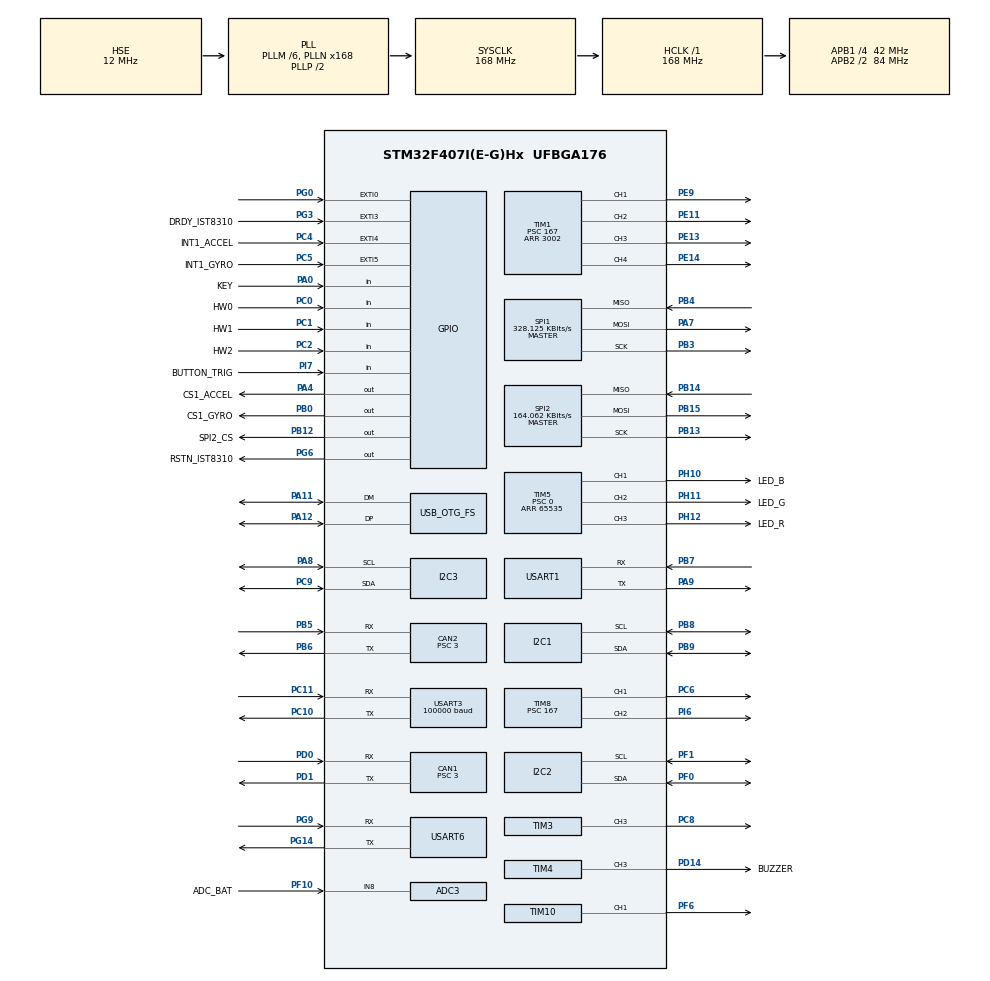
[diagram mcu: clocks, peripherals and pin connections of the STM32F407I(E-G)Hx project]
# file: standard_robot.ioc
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ADC1.Channel-0\#ChannelRegularConversion=ADC_CHANNEL_TEMPSENSOR
ADC1.ClockPrescaler=ADC_CLOCK_SYNC_PCLK_DIV6
ADC1.NbrOfConversionFlag=1
ADC1.Rank-0\#ChannelRegularConversion=1
ADC1.SamplingTime-0\#ChannelRegularConversion=ADC_SAMPLETIME_3CYCLES
ADC1.master=1
ADC3.Channel-0\#ChannelRegularConversion=ADC_CHANNEL_8
ADC3.ClockPrescaler=ADC_CLOCK_SYNC_PCLK_DIV6
ADC3.NbrOfConversionFlag=1
ADC3.Rank-0\#ChannelRegularConversion=1
ADC3.SamplingTime-0\#ChannelRegularConversion=ADC_SAMPLETIME_3CYCLES
CAN1.BS1=CAN_BS1_10TQ
CAN1.BS2=CAN_BS2_3TQ
CAN1.CalculateTimeQuantum=71.42857142857143
CAN1.Prescaler=3
CAN2.BS1=CAN_BS1_10TQ
CAN2.BS2=CAN_BS2_3TQ
CAN2.CalculateTimeQuantum=71.42857142857143
CAN2.Prescaler=3
Dma.I2C2_TX.2.Direction=DMA_MEMORY_TO_PERIPH
Dma.I2C2_TX.2.FIFOMode=DMA_FIFOMODE_DISABLE
Dma.I2C2_TX.2.Instance=DMA1_Stream7
Dma.I2C2_TX.2.MemDataAlignment=DMA_MDATAALIGN_BYTE
Dma.I2C2_TX.2.MemInc=DMA_MINC_ENABLE
Dma.I2C2_TX.2.Mode=DMA_NORMAL
Dma.I2C2_TX.2.PeriphDataAlignment=DMA_PDATAALIGN_BYTE
Dma.I2C2_TX.2.PeriphInc=DMA_PINC_DISABLE
Dma.I2C2_TX.2.Priority=DMA_PRIORITY_HIGH
Dma.Request0=SPI1_RX
Dma.Request1=SPI1_TX
Dma.Request2=I2C2_TX
Dma.Request3=USART3_RX
Dma.Request4=USART6_RX
Dma.Request5=USART6_TX
Dma.Request6=USART1_TX
Dma.Request7=USART1_RX
Dma.SPI1_RX.0.Direction=DMA_PERIPH_TO_MEMORY
Dma.SPI1_RX.0.FIFOMode=DMA_FIFOMODE_DISABLE
Dma.SPI1_RX.0.Instance=DMA2_Stream2
Dma.SPI1_RX.0.MemDataAlignment=DMA_MDATAALIGN_BYTE
Dma.SPI1_RX.0.MemInc=DMA_MINC_ENABLE
Dma.SPI1_RX.0.Mode=DMA_NORMAL
Dma.SPI1_RX.0.PeriphDataAlignment=DMA_PDATAALIGN_BYTE
Dma.SPI1_RX.0.PeriphInc=DMA_PINC_DISABLE
Dma.SPI1_RX.0.Priority=DMA_PRIORITY_VERY_HIGH
Dma.SPI1_TX.1.Direction=DMA_MEMORY_TO_PERIPH
Dma.SPI1_TX.1.FIFOMode=DMA_FIFOMODE_DISABLE
Dma.SPI1_TX.1.Instance=DMA2_Stream3
Dma.SPI1_TX.1.MemDataAlignment=DMA_MDATAALIGN_BYTE
Dma.SPI1_TX.1.MemInc=DMA_MINC_ENABLE
Dma.SPI1_TX.1.Mode=DMA_NORMAL
Dma.SPI1_TX.1.PeriphDataAlignment=DMA_PDATAALIGN_BYTE
Dma.SPI1_TX.1.PeriphInc=DMA_PINC_DISABLE
Dma.SPI1_TX.1.Priority=DMA_PRIORITY_HIGH
Dma.USART1_RX.7.Direction=DMA_PERIPH_TO_MEMORY
Dma.USART1_RX.7.FIFOMode=DMA_FIFOMODE_DISABLE
Dma.USART1_RX.7.Instance=DMA2_Stream5
Dma.USART1_RX.7.MemDataAlignment=DMA_MDATAALIGN_BYTE
Dma.USART1_RX.7.MemInc=DMA_MINC_ENABLE
Dma.USART1_RX.7.Mode=DMA_NORMAL
Dma.USART1_RX.7.PeriphDataAlignment=DMA_PDATAALIGN_BYTE
Dma.USART1_RX.7.PeriphInc=DMA_PINC_DISABLE
Dma.USART1_RX.7.Priority=DMA_PRIORITY_LOW
Dma.USART1_TX.6.Direction=DMA_MEMORY_TO_PERIPH
Dma.USART1_TX.6.FIFOMode=DMA_FIFOMODE_DISABLE
Dma.USART1_TX.6.Instance=DMA2_Stream7
Dma.USART1_TX.6.MemDataAlignment=DMA_MDATAALIGN_BYTE
Dma.USART1_TX.6.MemInc=DMA_MINC_ENABLE
Dma.USART1_TX.6.Mode=DMA_NORMAL
Dma.USART1_TX.6.PeriphDataAlignment=DMA_PDATAALIGN_BYTE
Dma.USART1_TX.6.PeriphInc=DMA_PINC_DISABLE
Dma.USART1_TX.6.Priority=DMA_PRIORITY_MEDIUM
Dma.USART3_RX.3.Direction=DMA_PERIPH_TO_MEMORY
Dma.USART3_RX.3.FIFOMode=DMA_FIFOMODE_DISABLE
Dma.USART3_RX.3.Instance=DMA1_Stream1
Dma.USART3_RX.3.MemDataAlignment=DMA_MDATAALIGN_BYTE
Dma.USART3_RX.3.MemInc=DMA_MINC_ENABLE
Dma.USART3_RX.3.Mode=DMA_NORMAL
Dma.USART3_RX.3.PeriphDataAlignment=DMA_PDATAALIGN_BYTE
Dma.USART3_RX.3.PeriphInc=DMA_PINC_DISABLE
Dma.USART3_RX.3.Priority=DMA_PRIORITY_HIGH
Dma.USART6_RX.4.Direction=DMA_PERIPH_TO_MEMORY
Dma.USART6_RX.4.FIFOMode=DMA_FIFOMODE_DISABLE
Dma.USART6_RX.4.Instance=DMA2_Stream1
Dma.USART6_RX.4.MemDataAlignment=DMA_MDATAALIGN_BYTE
Dma.USART6_RX.4.MemInc=DMA_MINC_ENABLE
Dma.USART6_RX.4.Mode=DMA_NORMAL
Dma.USART6_RX.4.PeriphDataAlignment=DMA_PDATAALIGN_BYTE
Dma.USART6_RX.4.PeriphInc=DMA_PINC_DISABLE
Dma.USART6_RX.4.Priority=DMA_PRIORITY_HIGH
Dma.USART6_TX.5.Direction=DMA_MEMORY_TO_PERIPH
Dma.USART6_TX.5.FIFOMode=DMA_FIFOMODE_DISABLE
Dma.USART6_TX.5.Instance=DMA2_Stream6
Dma.USART6_TX.5.MemDataAlignment=DMA_MDATAALIGN_BYTE
Dma.USART6_TX.5.MemInc=DMA_MINC_ENABLE
Dma.USART6_TX.5.Mode=DMA_NORMAL
Dma.USART6_TX.5.PeriphDataAlignment=DMA_PDATAALIGN_BYTE
Dma.USART6_TX.5.PeriphInc=DMA_PINC_DISABLE
Dma.USART6_TX.5.Priority=DMA_PRIORITY_MEDIUM
FREERTOS.INCLUDE_eTaskGetState=1
FREERTOS.INCLUDE_pcTaskGetTaskName=1
FREERTOS.INCLUDE_uxTaskGetStackHighWaterMark=1
FREERTOS.INCLUDE_vTaskCleanUpResources=1
FREERTOS.INCLUDE_vTaskDelayUntil=1
FREERTOS.INCLUDE_xEventGroupSetBitFromISR=1
FREERTOS.INCLUDE_xQueueGetMutexHolder=1
FREERTOS.INCLUDE_xSemaphoreGetMutexHolder=1
FREERTOS.INCLUDE_xTaskAbortDelay=1
FREERTOS.INCLUDE_xTaskGetCurrentTaskHandle=1
FREERTOS.INCLUDE_xTaskGetHandle=1
FREERTOS.INCLUDE_xTimerPendFunctionCall=1
FREERTOS.Tasks01=test,24,128,test_task,As weak,NULL,Dynamic,NULL,NULL
FREERTOS.configTOTAL_HEAP_SIZE=24576
I2C1.I2C_Mode=I2C_Fast
I2C2.I2C_Mode=I2C_Fast
I2C3.I2C_Mode=I2C_Fast
Mcu.Family=STM32F4
Mcu.Name=STM32F407I(E-G)Hx
Mcu.Package=UFBGA176
NVIC.CAN1_RX0_IRQn=true\:5\:0\:true\:false\:true\:true\:true\:true\:true
NVIC.CAN2_RX0_IRQn=true\:6\:0\:true\:false\:true\:true\:true\:true\:true
NVIC.DMA1_Stream1_IRQn=true\:5\:0\:true\:false\:false\:true\:false\:false\:true
NVIC.DMA1_Stream7_IRQn=true\:5\:0\:true\:false\:false\:true\:false\:true\:true
NVIC.DMA2_Stream1_IRQn=true\:5\:0\:true\:false\:true\:true\:false\:true\:true
NVIC.DMA2_Stream2_IRQn=true\:5\:0\:true\:false\:false\:true\:false\:true\:true
NVIC.DMA2_Stream3_IRQn=true\:5\:0\:true\:false\:false\:true\:false\:true\:true
NVIC.DMA2_Stream5_IRQn=true\:5\:0\:false\:false\:true\:true\:false\:true\:true
NVIC.DMA2_Stream6_IRQn=true\:5\:0\:true\:false\:true\:true\:false\:true\:true
NVIC.DMA2_Stream7_IRQn=true\:5\:0\:true\:false\:true\:true\:false\:true\:true
NVIC.EXTI0_IRQn=true\:6\:0\:true\:false\:true\:true\:true\:true\:true
NVIC.EXTI3_IRQn=true\:5\:0\:true\:false\:true\:true\:true\:true\:true
NVIC.EXTI4_IRQn=true\:5\:0\:true\:false\:true\:true\:true\:true\:true
NVIC.EXTI9_5_IRQn=true\:5\:0\:true\:false\:true\:true\:true\:true\:true
NVIC.OTG_FS_IRQn=true\:5\:0\:false\:false\:true\:true\:false\:true\:true
NVIC.PriorityGroup=NVIC_PRIORITYGROUP_4
NVIC.USART1_IRQn=true\:5\:0\:false\:false\:true\:true\:true\:true\:true
NVIC.USART3_IRQn=true\:4\:0\:true\:false\:false\:false\:true\:true\:true
NVIC.USART6_IRQn=true\:5\:0\:true\:false\:false\:true\:true\:true\:true
PA0-WKUP.GPIO_Label=KEY
PA0-WKUP.GPIO_PuPd=GPIO_PULLUP
PA0-WKUP.Signal=GPIO_Input
PA10.Signal=USB_OTG_FS_ID
PA11.Mode=Device_Only
PA11.Signal=USB_OTG_FS_DM
PA12.Mode=Device_Only
PA12.Signal=USB_OTG_FS_DP
PA13.Mode=Serial_Wire
PA13.Signal=SYS_JTMS-SWDIO
PA14.Mode=Serial_Wire
PA14.Signal=SYS_JTCK-SWCLK
PA4.GPIO_Label=CS1_ACCEL
PA4.GPIO_PuPd=GPIO_PULLUP
PA4.GPIO_Speed=GPIO_SPEED_FREQ_HIGH
PA4.PinState=GPIO_PIN_SET
PA4.Signal=GPIO_Output
PA7.GPIO_PuPd=GPIO_PULLUP
PA7.Mode=Full_Duplex_Master
PA7.Signal=SPI1_MOSI
PA8.Mode=I2C
PA8.Signal=I2C3_SCL
PA9.Mode=Asynchronous
PA9.Signal=USART1_TX
PB0.GPIO_Label=CS1_GYRO
PB0.GPIO_PuPd=GPIO_PULLUP
PB0.GPIO_Speed=GPIO_SPEED_FREQ_HIGH
PB0.PinState=GPIO_PIN_SET
PB0.Signal=GPIO_Output
PB12.GPIO_Label=SPI2_CS
PB12.GPIO_PuPd=GPIO_PULLUP
PB12.GPIO_Speed=GPIO_SPEED_FREQ_MEDIUM
PB12.PinState=GPIO_PIN_SET
PB12.Signal=GPIO_Output
PB13.GPIO_PuPd=GPIO_PULLUP
PB13.Mode=Full_Duplex_Master
PB13.Signal=SPI2_SCK
PB14.GPIO_PuPd=GPIO_PULLUP
PB14.Mode=Full_Duplex_Master
PB14.Signal=SPI2_MISO
PB15.GPIO_PuPd=GPIO_PULLUP
PB15.Mode=Full_Duplex_Master
PB15.Signal=SPI2_MOSI
PB3.GPIO_PuPd=GPIO_PULLUP
PB3.Mode=Full_Duplex_Master
PB3.Signal=SPI1_SCK
PB4.GPIO_PuPd=GPIO_PULLUP
PB4.Mode=Full_Duplex_Master
PB4.Signal=SPI1_MISO
PB5.Mode=Slave
PB5.Signal=CAN2_RX
PB6.Mode=Slave
PB6.Signal=CAN2_TX
PB7.Mode=Asynchronous
PB7.Signal=USART1_RX
PB8.Mode=I2C
PB8.Signal=I2C1_SCL
PB9.Mode=I2C
PB9.Signal=I2C1_SDA
PC0.GPIO_Label=HW0
PC0.Signal=GPIO_Input
PC1.GPIO_Label=HW1
PC1.Signal=GPIO_Input
PC10.Mode=Asynchronous
PC10.Signal=USART3_TX
PC11.Mode=Asynchronous
PC11.Signal=USART3_RX
PC2.GPIO_Label=HW2
PC2.Signal=GPIO_Input
PC4.GPIO_Label=INT1_ACCEL
PC4.GPIO_ModeDefaultEXTI=GPIO_MODE_IT_FALLING
PC4.GPIO_PuPd=GPIO_PULLUP
PC4.Signal=GPXTI4
PC5.GPIO_Label=INT1_GYRO
PC5.GPIO_ModeDefaultEXTI=GPIO_MODE_IT_FALLING
PC5.GPIO_PuPd=GPIO_PULLUP
PC5.Signal=GPXTI5
PC6.GPIO_PuPd=GPIO_PULLUP
PC6.GPIO_Speed=GPIO_SPEED_FREQ_HIGH
PC6.Signal=S_TIM8_CH1
PC8.GPIO_PuPd=GPIO_PULLUP
PC8.GPIO_Speed=GPIO_SPEED_FREQ_HIGH
PC8.Signal=S_TIM3_CH3
PC9.Mode=I2C
PC9.Signal=I2C3_SDA
PD0.Mode=Master
PD0.Signal=CAN1_RX
PD1.Mode=Master
PD1.Signal=CAN1_TX
PD14.GPIO_Label=BUZZER
PD14.GPIO_PuPd=GPIO_PULLUP
PD14.GPIO_Speed=GPIO_SPEED_FREQ_VERY_HIGH
PD14.Signal=S_TIM4_CH3
PE11.GPIO_PuPd=GPIO_PULLUP
PE11.GPIO_Speed=GPIO_SPEED_FREQ_HIGH
PE11.Signal=S_TIM1_CH2
PE13.GPIO_PuPd=GPIO_PULLUP
PE13.GPIO_Speed=GPIO_SPEED_FREQ_HIGH
PE13.Signal=S_TIM1_CH3
PE14.GPIO_PuPd=GPIO_PULLUP
PE14.GPIO_Speed=GPIO_SPEED_FREQ_HIGH
PE14.Signal=S_TIM1_CH4
PE9.GPIO_PuPd=GPIO_PULLUP
PE9.GPIO_Speed=GPIO_SPEED_FREQ_HIGH
PE9.Signal=S_TIM1_CH1
PF0.Mode=I2C
PF0.Signal=I2C2_SDA
PF1.Mode=I2C
PF1.Signal=I2C2_SCL
PF10.GPIO_Label=ADC_BAT
PF10.Mode=IN8
PF10.Signal=ADC3_IN8
PF6.GPIO_PuPd=GPIO_PULLUP
PF6.GPIO_Speed=GPIO_SPEED_FREQ_HIGH
PF6.Signal=S_TIM10_CH1
PG0.GPIO_ModeDefaultEXTI=GPIO_MODE_IT_FALLING
PG0.GPIO_PuPd=GPIO_PULLUP
PG0.Signal=GPXTI0
PG14.Mode=Asynchronous
PG14.Signal=USART6_TX
PG3.GPIO_Label=DRDY_IST8310
PG3.GPIO_ModeDefaultEXTI=GPIO_MODE_IT_FALLING
PG3.GPIO_PuPd=GPIO_PULLUP
PG3.Signal=GPXTI3
PG6.GPIO_Label=RSTN_IST8310
PG6.GPIO_PuPd=GPIO_PULLUP
PG6.GPIO_Speed=GPIO_SPEED_FREQ_MEDIUM
PG6.PinState=GPIO_PIN_SET
PG6.Signal=GPIO_Output
PG9.Mode=Asynchronous
PG9.Signal=USART6_RX
PH0-OSC_IN.Mode=HSE-External-Oscillator
PH0-OSC_IN.Signal=RCC_OSC_IN
PH1-OSC_OUT.Mode=HSE-External-Oscillator
PH1-OSC_OUT.Signal=RCC_OSC_OUT
PH10.GPIO_Label=LED_B
PH10.GPIO_PuPd=GPIO_PULLUP
PH10.GPIO_Speed=GPIO_SPEED_FREQ_HIGH
PH10.Signal=S_TIM5_CH1
PH11.GPIO_Label=LED_G
PH11.GPIO_PuPd=GPIO_PULLUP
PH11.GPIO_Speed=GPIO_SPEED_FREQ_HIGH
PH11.Signal=S_TIM5_CH2
PH12.GPIO_Label=LED_R
PH12.GPIO_PuPd=GPIO_PULLUP
PH12.GPIO_Speed=GPIO_SPEED_FREQ_HIGH
PH12.Signal=S_TIM5_CH3
PI6.GPIO_PuPd=GPIO_PULLUP
PI6.GPIO_Speed=GPIO_SPEED_FREQ_HIGH
PI6.Signal=S_TIM8_CH2
PI7.GPIO_Label=BUTTON_TRIG
PI7.GPIO_PuPd=GPIO_PULLUP
PI7.Signal=GPIO_Input
ProjectManager.HeapSize=0x2000
ProjectManager.StackSize=0x2000
ProjectManager.TargetToolchain=MDK-ARM V5
RCC.48MHZClocksFreq_Value=48000000
RCC.AHBFreq_Value=168000000
RCC.APB1CLKDivider=RCC_HCLK_DIV4
RCC.APB1Freq_Value=42000000
RCC.APB1TimFreq_Value=84000000
RCC.APB2CLKDivider=RCC_HCLK_DIV2
RCC.APB2Freq_Value=84000000
RCC.APB2TimFreq_Value=168000000
RCC.CortexFreq_Value=168000000
RCC.HCLKFreq_Value=168000000
RCC.HSE_VALUE=12000000
RCC.HSI_VALUE=16000000
RCC.LSE_VALUE=32768
RCC.PLLM=6
RCC.PLLN=168
RCC.PLLQ=7
RCC.RCC_RTC_Clock_SourceVirtual=RCC_RTCCLKSOURCE_HSE_DIV30
RCC.RCC_RTC_Clock_Source_FROM_HSE=RCC_RTCCLKSOURCE_HSE_DIV30
RCC.SYSCLKFreq_VALUE=168000000
RCC.SYSCLKSource=RCC_SYSCLKSOURCE_PLLCLK
RCC.VCOOutputFreq_Value=336000000
RTC.AsynchPrediv=124
RTC.SynchPrediv=3199
SH.S_TIM10_CH1.0=TIM10_CH1,PWM Generation1 CH1
SH.S_TIM1_CH1.0=TIM1_CH1,PWM Generation1 CH1
SH.S_TIM1_CH2.0=TIM1_CH2,PWM Generation2 CH2
SH.S_TIM1_CH3.0=TIM1_CH3,PWM Generation3 CH3
SH.S_TIM1_CH4.0=TIM1_CH4,PWM Generation4 CH4
SH.S_TIM3_CH3.0=TIM3_CH3,PWM Generation3 CH3
SH.S_TIM4_CH3.0=TIM4_CH3,PWM Generation3 CH3
SH.S_TIM5_CH1.0=TIM5_CH1,PWM Generation1 CH1
SH.S_TIM5_CH2.0=TIM5_CH2,PWM Generation2 CH2
SH.S_TIM5_CH3.0=TIM5_CH3,PWM Generation3 CH3
SH.S_TIM8_CH1.0=TIM8_CH1,PWM Generation1 CH1
SH.S_TIM8_CH2.0=TIM8_CH2,PWM Generation2 CH2
SPI1.BaudRatePrescaler=SPI_BAUDRATEPRESCALER_256
SPI1.CLKPhase=SPI_PHASE_2EDGE
SPI1.CLKPolarity=SPI_POLARITY_HIGH
SPI1.CalculateBaudRate=328.125 KBits/s
SPI1.Direction=SPI_DIRECTION_2LINES
SPI1.Mode=SPI_MODE_MASTER
SPI1.VirtualType=VM_MASTER
SPI2.BaudRatePrescaler=SPI_BAUDRATEPRESCALER_256
SPI2.CLKPhase=SPI_PHASE_2EDGE
SPI2.CLKPolarity=SPI_POLARITY_HIGH
SPI2.CalculateBaudRate=164.062 KBits/s
SPI2.Direction=SPI_DIRECTION_2LINES
SPI2.Mode=SPI_MODE_MASTER
SPI2.VirtualType=VM_MASTER
TIM1.Channel-PWM\ Generation1\ CH1=TIM_CHANNEL_1
TIM1.Channel-PWM\ Generation2\ CH2=TIM_CHANNEL_2
TIM1.Channel-PWM\ Generation3\ CH3=TIM_CHANNEL_3
TIM1.Channel-PWM\ Generation4\ CH4=TIM_CHANNEL_4
TIM1.Period=3002
TIM1.Prescaler=167
TIM1.Pulse-PWM\ Generation1\ CH1=1000
TIM1.Pulse-PWM\ Generation2\ CH2=1000
TIM1.Pulse-PWM\ Generation3\ CH3=1000
TIM1.Pulse-PWM\ Generation4\ CH4=1000
TIM10.Channel=TIM_CHANNEL_1
TIM10.Period=4999
TIM3.Channel-PWM\ Generation3\ CH3=TIM_CHANNEL_3
TIM3.Period=8399
TIM4.Channel-PWM\ Generation3\ CH3=TIM_CHANNEL_3
TIM4.Period=65535
TIM4.Prescaler=167
TIM5.Channel-PWM\ Generation1\ CH1=TIM_CHANNEL_1
TIM5.Channel-PWM\ Generation2\ CH2=TIM_CHANNEL_2
TIM5.Channel-PWM\ Generation3\ CH3=TIM_CHANNEL_3
TIM5.Period=65535
TIM5.Prescaler=0
TIM8.Channel-PWM\ Generation1\ CH1=TIM_CHANNEL_1
TIM8.Channel-PWM\ Generation2\ CH2=TIM_CHANNEL_2
TIM8.Period=19999
TIM8.Prescaler=167
TIM8.Pulse-PWM\ Generation1\ CH1=1000
TIM8.Pulse-PWM\ Generation2\ CH2=1000
USART1.VirtualMode=VM_ASYNC
USART3.BaudRate=100000
USART3.Parity=PARITY_EVEN
USART3.VirtualMode=VM_ASYNC
USART6.VirtualMode=VM_ASYNC
USB_DEVICE.CLASS_NAME_FS=CDC
USB_DEVICE.VirtualMode-CDC_FS=Cdc
USB_DEVICE.VirtualModeFS=Cdc_FS
USB_OTG_FS.VirtualMode=Device_Only
VP_ADC1_TempSens_Input.Mode=IN-TempSens
VP_ADC1_Vref_Input.Mode=IN-Vrefint
VP_CRC_VS_CRC.Mode=CRC_Activate
VP_FREERTOS_VS_CMSIS_V1.Mode=CMSIS_V1
VP_RNG_VS_RNG.Mode=RNG_Activate
VP_RTC_VS_RTC_Activate.Mode=RTC_Enabled
VP_TIM10_VS_ClockSourceINT.Mode=Enable_Timer
VP_TIM1_VS_ClockSourceINT.Mode=Internal
VP_TIM3_VS_ClockSourceINT.Mode=Internal
VP_TIM4_VS_ClockSourceINT.Mode=Internal
VP_TIM5_VS_ClockSourceINT.Mode=Internal
VP_TIM8_VS_ClockSourceINT.Mode=Internal
VP_USB_DEVICE_VS_USB_DEVICE_CDC_FS.Mode=CDC_FS
board=custom

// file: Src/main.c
/* USER CODE BEGIN Header */
/**
  ******************************************************************************
  * @file           : main.c
  * @brief          : Main program body
  ******************************************************************************
  * @attention
  *
  * <h2><center>&copy; Copyright (c) 2019 STMicroelectronics.
  * All rights reserved.</center></h2>
  *
  * This software component is licensed by ST under Ultimate Liberty license
  * SLA0044, the "License"; You may not use this file except in compliance with
  * the License. You may obtain a copy of the License at:
  *                             www.st.com/SLA0044
  *
  ******************************************************************************
  */
/* USER CODE END Header */

#include "main.h"
#include "cmsis_os.h"
#include "adc.h"
#include "can.h"
#include "crc.h"
#include "dma.h"
#include "i2c.h"
#include "rng.h"
#include "rtc.h"
#include "spi.h"
#include "tim.h"
#include "usart.h"
#include "usb_device.h"
#include "gpio.h"

/* USER CODE BEGIN Includes */
#include "bsp_can.h"
#include "bsp_delay.h"
#include "bsp_dwt.h"
#include "bsp_usart.h"
#include "remote_control.h"

#include "calibrate_task.h"
#include "chassis_task.h"
#include "detect_task.h"
#include "naive_gimbal_task.h"
#include "INS_task.h"
#include "led_flow_task.h"
#include "oled_task.h"
#include "referee_usart_task.h"
#include "usb_task.h"
#include "voltage_task.h"
#include "bsp_nucCom.h"
#include "nucCommu.h"
#include <stdarg.h>
/* USER CODE END Includes */

/* USER CODE BEGIN PV */
extern UART_HandleTypeDef huart6;
void usart_printf(const char *fmt,...)
{
    static uint8_t tx_buf[256] = {0};
    static va_list ap;
    static uint16_t len;
    va_start(ap, fmt);

    len = vsprintf((char *)tx_buf, fmt, ap);

    va_end(ap);

		HAL_UART_Transmit(&huart6, tx_buf, len, 100);
    usart6_tx_dma_enable(tx_buf, len);

}

/* USER CODE END PV */

void SystemClock_Config(void);
void MX_FREERTOS_Init(void);

int main(void)
{

  /* MCU Configuration--------------------------------------------------------*/

  /* Reset of all peripherals, Initializes the Flash interface and the Systick. */
  HAL_Init();

  /* Configure the system clock */
  SystemClock_Config();

  /* Initialize all configured peripherals */
  MX_GPIO_Init();
  MX_DMA_Init();
  MX_ADC1_Init();
  MX_ADC3_Init();
  MX_CAN1_Init();
  MX_CAN2_Init();
  MX_I2C1_Init();
  MX_SPI1_Init();
  MX_TIM4_Init();
  MX_TIM5_Init();
  MX_USART3_UART_Init();
  MX_TIM8_Init();
  MX_CRC_Init();
  MX_RNG_Init();
  MX_I2C2_Init();
  MX_I2C3_Init();
  MX_RTC_Init();
  MX_SPI2_Init();
  MX_TIM1_Init();
  MX_TIM3_Init();
  MX_TIM10_Init();
  MX_USART1_UART_Init();
  MX_USART6_UART_Init();
  /* USER CODE BEGIN 2 */
//	MX_USB_DEVICE_Init();
	DWT_Init(168);
  while (BMI088_init(&hspi1, 1) != BMI088_NO_ERROR)
      ;
    can_filter_init();
    delay_init();
//    cali_param_init();
    remote_control_init();
    usart1_tx_dma_init();
    nuc_control_init();

  /* USER CODE END 2 */

  /* Call init function for freertos objects (in freertos.c) */
  MX_FREERTOS_Init();

  /* Start scheduler */
  osKernelStart();

  /* We should never get here as control is now taken by the scheduler */

  /* Infinite loop */
  while (1)
  {

  }
}

void SystemClock_Config(void)
{
  RCC_OscInitTypeDef RCC_OscInitStruct = {0};
  RCC_ClkInitTypeDef RCC_ClkInitStruct = {0};
  RCC_PeriphCLKInitTypeDef PeriphClkInitStruct = {0};

  /** Configure the main internal regulator output voltage
  */
  __HAL_RCC_PWR_CLK_ENABLE();
  __HAL_PWR_VOLTAGESCALING_CONFIG(PWR_REGULATOR_VOLTAGE_SCALE1);
  /** Initializes the CPU, AHB and APB busses clocks
  */
  RCC_OscInitStruct.OscillatorType = RCC_OSCILLATORTYPE_HSE;
  RCC_OscInitStruct.HSEState = RCC_HSE_ON;
  RCC_OscInitStruct.PLL.PLLState = RCC_PLL_ON;
  RCC_OscInitStruct.PLL.PLLSource = RCC_PLLSOURCE_HSE;
  RCC_OscInitStruct.PLL.PLLM = 6;
  RCC_OscInitStruct.PLL.PLLN = 168;
  RCC_OscInitStruct.PLL.PLLP = RCC_PLLP_DIV2;
  RCC_OscInitStruct.PLL.PLLQ = 7;
  if (HAL_RCC_OscConfig(&RCC_OscInitStruct) != HAL_OK)
  {
    Error_Handler();
  }
  /** Initializes the CPU, AHB and APB busses clocks
  */
  RCC_ClkInitStruct.ClockType = RCC_CLOCKTYPE_HCLK|RCC_CLOCKTYPE_SYSCLK
                              |RCC_CLOCKTYPE_PCLK1|RCC_CLOCKTYPE_PCLK2;
  RCC_ClkInitStruct.SYSCLKSource = RCC_SYSCLKSOURCE_PLLCLK;
  RCC_ClkInitStruct.AHBCLKDivider = RCC_SYSCLK_DIV1;
  RCC_ClkInitStruct.APB1CLKDivider = RCC_HCLK_DIV4;
  RCC_ClkInitStruct.APB2CLKDivider = RCC_HCLK_DIV2;

  if (HAL_RCC_ClockConfig(&RCC_ClkInitStruct, FLASH_LATENCY_5) != HAL_OK)
  {
    Error_Handler();
  }
  PeriphClkInitStruct.PeriphClockSelection = RCC_PERIPHCLK_RTC;
  PeriphClkInitStruct.RTCClockSelection = RCC_RTCCLKSOURCE_HSE_DIV30;
  if (HAL_RCCEx_PeriphCLKConfig(&PeriphClkInitStruct) != HAL_OK)
  {
    Error_Handler();
  }
}

void Error_Handler(void)
{
}

/************************ (C) COPYRIGHT STMicroelectronics *****END OF FILE****/

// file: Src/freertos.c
/* USER CODE BEGIN Header */
/**
  ******************************************************************************
  * File Name          : freertos.c
  * Description        : Code for freertos applications
  ******************************************************************************
  * @attention
  *
  * <h2><center>&copy; Copyright (c) 2019 STMicroelectronics.
  * All rights reserved.</center></h2>
  *
  * This software component is licensed by ST under Ultimate Liberty license
  * SLA0044, the "License"; You may not use this file except in compliance with
  * the License. You may obtain a copy of the License at:
  *                             www.st.com/SLA0044
  *
  ******************************************************************************
  */
/* USER CODE END Header */

#include "FreeRTOS.h"
#include "task.h"
#include "main.h"
#include "cmsis_os.h"

/* USER CODE BEGIN Includes */

#include "calibrate_task.h"
#include "chassis_task.h"
#include "detect_task.h"
#include "naive_gimbal_task.h"
#include "INS_task.h"
#include "led_flow_task.h"
#include "oled_task.h"
#include "referee_usart_task.h"
#include "usb_task.h"
#include "voltage_task.h"
#include "servo_task.h"
#include "robot_total_mode.h"
#include "naive_shoot_task.h"
#include "communication_task.h"
/* USER CODE END Includes */

/* USER CODE BEGIN PTD */

//osThreadId calibrate_tast_handle;
//osThreadId chassisTaskHandle;
osThreadId detect_handle;
osThreadId gimbalTaskHandle;
osThreadId imuTaskHandle;
osThreadId led_RGB_flow_handle;
//osThreadId oled_handle;
//osThreadId referee_usart_task_handle;
//osThreadId usb_task_handle;
//osThreadId battery_voltage_handle;
osThreadId servo_task_handle;
osThreadId totalModeTask_handle;
osThreadId shootTaskTask_handle;
osThreadId shootTaskTrgMntr_handle;
osThreadId communicationTask_handle;
osThreadId rcDetectTask_handle;

/* USER CODE END PTD */

//osThreadId testHandle;

/* USER CODE BEGIN FunctionPrototypes */
void start_INS_task(void const * argument);
/* USER CODE END FunctionPrototypes */

void test_task(void const * argument);

extern void MX_USB_DEVICE_Init(void);
void MX_FREERTOS_Init(void); /* (MISRA C 2004 rule 8.1) */

/* GetIdleTaskMemory prototype (linked to static allocation support) */
void vApplicationGetIdleTaskMemory( StaticTask_t **ppxIdleTaskTCBBuffer, StackType_t **ppxIdleTaskStackBuffer, uint32_t *pulIdleTaskStackSize );

/* GetTimerTaskMemory prototype (linked to static allocation support) */
void vApplicationGetTimerTaskMemory( StaticTask_t **ppxTimerTaskTCBBuffer, StackType_t **ppxTimerTaskStackBuffer, uint32_t *pulTimerTaskStackSize );

/* USER CODE BEGIN GET_IDLE_TASK_MEMORY */
static StaticTask_t xIdleTaskTCBBuffer;
static StackType_t xIdleStack[configMINIMAL_STACK_SIZE];

void vApplicationGetIdleTaskMemory( StaticTask_t **ppxIdleTaskTCBBuffer, StackType_t **ppxIdleTaskStackBuffer, uint32_t *pulIdleTaskStackSize )
{
  *ppxIdleTaskTCBBuffer = &xIdleTaskTCBBuffer;
  *ppxIdleTaskStackBuffer = &xIdleStack[0];
  *pulIdleTaskStackSize = configMINIMAL_STACK_SIZE;
  /* place for user code */
}
/* USER CODE END GET_IDLE_TASK_MEMORY */

/* USER CODE BEGIN GET_TIMER_TASK_MEMORY */
static StaticTask_t xTimerTaskTCBBuffer;
static StackType_t xTimerStack[configTIMER_TASK_STACK_DEPTH];

void vApplicationGetTimerTaskMemory( StaticTask_t **ppxTimerTaskTCBBuffer, StackType_t **ppxTimerTaskStackBuffer, uint32_t *pulTimerTaskStackSize )
{
  *ppxTimerTaskTCBBuffer = &xTimerTaskTCBBuffer;
  *ppxTimerTaskStackBuffer = &xTimerStack[0];
  *pulTimerTaskStackSize = configTIMER_TASK_STACK_DEPTH;
  /* place for user code */
}
/* USER CODE END GET_TIMER_TASK_MEMORY */

void MX_FREERTOS_Init(void) {

  /* Create the thread(s) */
  /* definition and creation of test */
//  osThreadDef(test, test_task, osPriorityNormal, 0, 128);
//  testHandle = osThreadCreate(osThread(test), NULL);

  /* USER CODE BEGIN RTOS_THREADS */
  /* add threads, ... */
    // osThreadDef(cali, calibrate_task, osPriorityNormal, 0, 512);
    // calibrate_tast_handle = osThreadCreate(osThread(cali), NULL);

//    osThreadDef(ChassisTask, chassis_task, osPriorityAboveNormal, 0, 512);
//    chassisTaskHandle = osThreadCreate(osThread(ChassisTask), NULL);

//---------------------------

    osThreadDef(DETECT, detect_task, osPriorityNormal, 0, 512);
    detect_handle = osThreadCreate(osThread(DETECT), NULL);

		osThreadDef(COMMUNICATION, communication_task, osPriorityRealtime, 0, 512);
    communicationTask_handle = osThreadCreate(osThread(COMMUNICATION), NULL);

    osThreadDef(gimbalTask, gimbal_task, osPriorityHigh, 0, 1024);
    gimbalTaskHandle = osThreadCreate(osThread(gimbalTask), NULL);

    osThreadDef(imuTask, start_INS_task, osPriorityRealtime, 0, 1024); // start_INS_task进程在下面
    imuTaskHandle = osThreadCreate(osThread(imuTask), NULL);

    osThreadDef(led, led_RGB_flow_task, osPriorityNormal, 0, 256); // 文件名叫led_flow_task
    led_RGB_flow_handle = osThreadCreate(osThread(led), NULL);

//------------------

//    osThreadDef(OLED, oled_task, osPriorityLow, 0, 512);
//    oled_handle = osThreadCreate(osThread(OLED), NULL);

//    osThreadDef(REFEREE, referee_usart_task, osPriorityNormal, 0, 128);
//    referee_usart_task_handle = osThreadCreate(osThread(REFEREE), NULL);

//    osThreadDef(USBTask, usb_task, osPriorityNormal, 0, 256);
//    usb_task_handle = osThreadCreate(osThread(USBTask), NULL);

//    osThreadDef(BATTERY_VOLTAGE, battery_voltage_task, osPriorityNormal, 0, 128);
//    battery_voltage_handle = osThreadCreate(osThread(BATTERY_VOLTAGE), NULL);

//----------------

    osThreadDef(SERVO, servo_task, osPriorityNormal, 0, 128);
    servo_task_handle = osThreadCreate(osThread(SERVO), NULL);

    osThreadDef(totalModeTask, robot_total_mode_task, osPriorityHigh, 0, 256);
    totalModeTask_handle = osThreadCreate(osThread(totalModeTask), NULL);

    osThreadDef(shootTask, shoot_task, osPriorityHigh, 0, 512);
    shootTaskTask_handle = osThreadCreate(osThread(shootTask), NULL); // 文件名叫naive_shoot_task

    osThreadDef(shootTrgMonitor, shootTaskTrggMonitor, osPriorityRealtime, 0, 128); // 文件名叫naive_shoot_task
    shootTaskTrgMntr_handle = osThreadCreate(osThread(shootTrgMonitor), NULL);

//------------------

  /* USER CODE END RTOS_THREADS */

}

__weak void test_task(void const * argument)
{
  /* init code for USB_DEVICE */
  MX_USB_DEVICE_Init();

  for(;;)
  {
    osDelay(1);
  }
}

/* USER CODE BEGIN Application */
void start_INS_task(void const * argurment)
{
	INS_Init();
	while(1){
		INS_Task();
		osDelay(1);
	}
}
/* USER CODE END Application */

/************************ (C) COPYRIGHT STMicroelectronics *****END OF FILE****/
